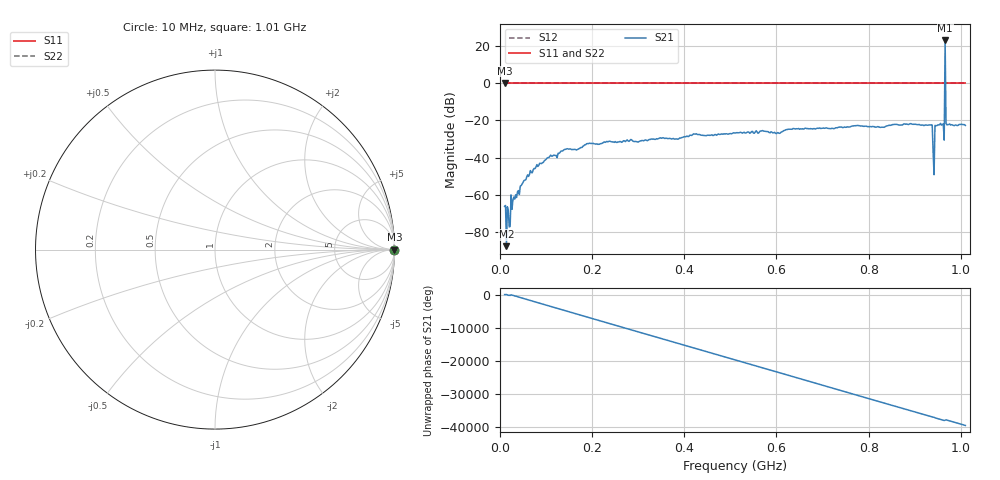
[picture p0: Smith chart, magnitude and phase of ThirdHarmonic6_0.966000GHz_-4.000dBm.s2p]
! 8/16/2025 7:14:26 AM
! C:\ANRITSUVNA\TEMP\TEMP.S2P
! CHANNEL.1
! TR.MEASUREMENT
! RAW.DATA
! RF.CORRECTION.OFF
! AVERAGING.OFF
! IF.BANDWIDTH: 5KHZ
! SWEEPTYPE:  FREQ.SWEEP(Linear)
! Reference Plane Port Info
! PORT:  PORT1  PORT2
! DISTANCE:  0  m  0  m
! TIME:  0  s  0  s
! PHASE.OFFSET:  0  deg.  0  deg.
! LOSS:  0  dB  0  dB
! REF.LOSS:  0  dB  0  dB
! REF.FREQ:  0  Hz  0  Hz
! Power Info
! POWER:  -20  dBm  -20  dBm
! EFF.POWER:  -20  dBm  -20  dBm
! SOURCE.ATTEN:  0  dB  0  dB
! TEST.ATTEN:  0  dB  0  dB
# GHZ S RI R 50.0
! FREQ.GHZ  S11RE  S11IM  S21RE  S21IM  S12RE  S12IM  S22RE  S22IM
!; PortSelection: Port_12
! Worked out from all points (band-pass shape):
!   501 points, 10 MHz to 1.01 GHz, reference 50 ohm
!   highest |S21| = 22.76 dB at 966 MHz (marker M1); lowest = -87.5 dB at 14 MHz (marker M2)
!   |S21| within 3 dB of the highest: 965.8877 MHz to 966.1349 MHz (247.1 kHz wide, 0.0256 % of centre)
!   lowest |S11| = 0.0 dB at 10 MHz (marker M3)
!   |S11| at or under -10 dB: nowhere
!   |S22| runs from 0.0 to 0.0 dB; largest |S21 - S12| = 13
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0.01  1 0  0.000405 0.00028  1 0  1 0
0.014  1 0  2.95e-05 3e-05  1 0  1 0
0.018  1 0  -0.000369 8.4e-05  1 0  1 0
0.02  1 0  -0.000127 -5.19e-05  1 0  1 0
0.028  1 0  -0.000616 0.000381  1 0  1 0
0.076  1 0  0.00504 0.000427  1 0  1 0
0.142  1 0  -0.015 -0.00703  1 0  1 0
0.178  1 0  -0.018 -0.00476  1 0  1 0
0.344  1 0  0.032 -0.00381  1 0  1 0
0.51  1 0  -0.044 0.0111  1 0  1 0
0.678  1 0  -0.0184 -0.0554  1 0  1 0
0.844  1 0  0.0421 0.0603  1 0  1 0
0.934  1 0  0.067 0.0329  1 0  1 0
0.938  1 0  -0.0539 -0.0511  1 0  1 0
0.944  1 0  0.0701 -0.0186  1 0  1 0
0.948  1 0  -0.0712 -0.00729  1 0  1 0
0.96  1 0  0.0337 0.0686  1 0  1 0
0.962  1 0  0.0758 -0.024  1 0  1 0
0.966  1 0  13.74 -0.3824  1 0  1 0
0.97  1 0  0.0707 0.0242  1 0  1 0
0.972  1 0  0.0354 -0.0681  1 0  1 0
1.01  1 0  -0.066 -0.0302  1 0  1 0
